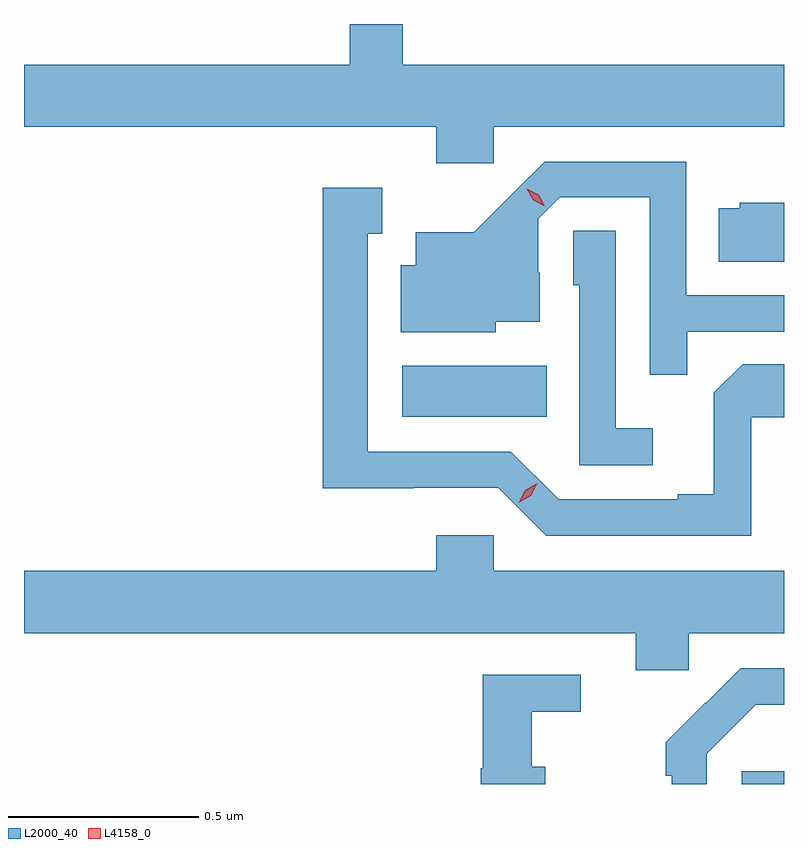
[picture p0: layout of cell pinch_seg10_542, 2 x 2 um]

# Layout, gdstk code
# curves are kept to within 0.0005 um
import gdstk
lib = gdstk.Library(unit=1e-6, precision=1e-09)
def R(c, l, rs):  # rectangles x0, y0, x1, y1
    for r in rs: c.add(gdstk.rectangle(r[:2], r[2:], *l))
def P(c, l, *ps):  # polygons
    for p in ps: c.add(gdstk.Polygon(p, *l))
L2000_40 = (2000, 40)
L4158_0 = (4158, 0)

pinch_seg10_542 = lib.new_cell('pinch_seg10_542')
R(pinch_seg10_542, L2000_40, [(215.969,1250.635,216.08,1250.668), (215.076,1251.602,215.456,1251.736)])
P(pinch_seg10_542, L2000_40, [(215.316,1252.364),(216.08,1252.364),(216.08,1252.528),(215.077,1252.528),(215.077,1252.635),(214.937,1252.635),(214.937,1252.528),(214.08,1252.528),(214.08,1252.364),(215.165,1252.364),(215.165,1252.269),(215.316,1252.269)],
  [(215.825,1251.825),(216.08,1251.825),(216.08,1251.921),(215.823,1251.921),(215.823,1252.272),(215.45,1252.272),(215.263,1252.087),(215.111,1252.087),(215.111,1252),(215.072,1252),(215.072,1251.824),(215.322,1251.824),(215.322,1251.851),(215.437,1251.851),(215.437,1251.98),(215.433,1251.98),(215.433,1252.122),(215.49,1252.179),(215.727,1252.179),(215.727,1251.712),(215.825,1251.712)],
  [(215.994,1251.6),(216.08,1251.6),(216.08,1251.74),(215.971,1251.74),(215.895,1251.664),(215.895,1251.397),(215.801,1251.397),(215.801,1251.384),(215.487,1251.384),(215.361,1251.51),(214.984,1251.51),(214.984,1252.083),(215.023,1252.083),(215.023,1252.204),(214.866,1252.204),(214.866,1251.413),(215.106,1251.413),(215.106,1251.414),(215.328,1251.414),(215.454,1251.288),(215.994,1251.288)],
  [(216.08,1252.165),(215.964,1252.165),(215.964,1252.15),(215.908,1252.15),(215.908,1252.01),(216.08,1252.01)],
  [(215.734,1251.571),(215.637,1251.571),(215.637,1252.091),(215.526,1252.091),(215.526,1251.948),(215.541,1251.948),(215.541,1251.474),(215.734,1251.474)],
  [(215.829,1251.032),(216.08,1251.032),(216.08,1251.196),(215.316,1251.196),(215.316,1251.289),(215.165,1251.289),(215.165,1251.196),(214.08,1251.196),(214.08,1251.032),(215.69,1251.032),(215.69,1250.934),(215.829,1250.934)],
  [(215.877,1250.715),(216.006,1250.844),(216.08,1250.844),(216.08,1250.94),(215.966,1250.94),(215.875,1250.849),(215.874,1250.85),(215.769,1250.745),(215.769,1250.657),(215.784,1250.657),(215.784,1250.635),(215.877,1250.635)],
  [(215.452,1250.68),(215.416,1250.68),(215.416,1250.825),(215.545,1250.825),(215.545,1250.922),(215.287,1250.922),(215.287,1250.676),(215.282,1250.676),(215.282,1250.635),(215.452,1250.635)])
P(pinch_seg10_542, L4158_0, [(215.451,1252.156),(215.42,1252.171),(215.403,1252.201),(215.403,1252.202),(215.403,1252.202),(215.434,1252.186),(215.451,1252.156),(215.451,1252.156)],
  [(215.382,1251.375),(215.382,1251.375),(215.399,1251.408),(215.43,1251.427),(215.43,1251.427),(215.43,1251.427),(215.413,1251.394),(215.382,1251.375)])

lib.write_gds('pinch_seg10_542.gds')
